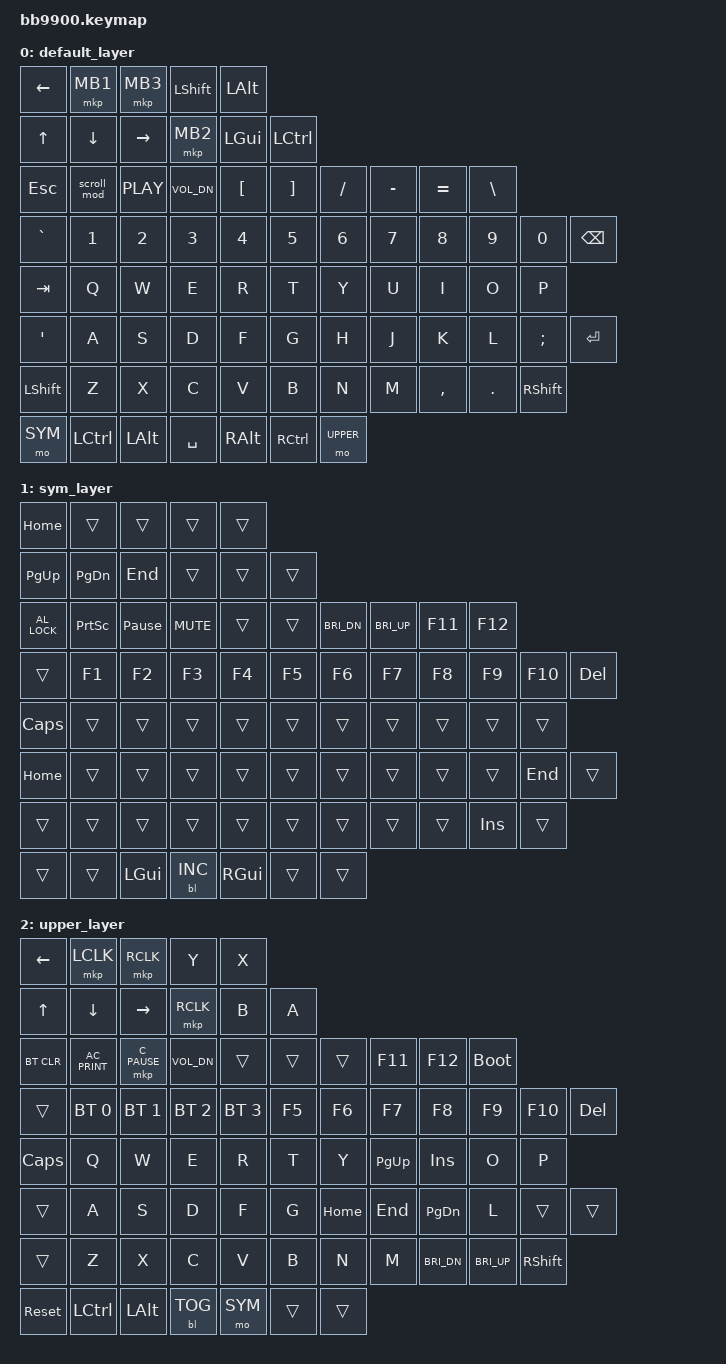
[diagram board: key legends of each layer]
/*
 * bb9900.keymap — proposed for the operator's fork of Bill-lulu/uc9900
 *
 * Targets the shipping ZitaoTech `bbkeyboard_tp` ZMK fork unchanged
 * (no main.c patch, no driver rework). All changes are confined to
 * this keymap file. Diff from stock V1.2.1:
 *
 *  1. Default top cluster — replaces F21..F24 with direct modifier
 *     keycodes so DMS reads Y/X/B/A as Shift/Mod(Super)/Alt/Ctrl.
 *     Trackpad-tap cell switched from MB1 (left click) to MB3
 *     (middle click) per operator request.
 *
 *  2. Select cell — `&scroll_mod` (new macro below). Press taps
 *     ScrollLock once (host LED indicator -> bit 2 -> firmware
 *     `app/src/main.c` line 75 condition `== 4` matches -> scroll
 *     mode engages). Release taps ScrollLock again, indicator
 *     clears, firmware returns to cursor mode. No OS-visible typing
 *     effect (ScrollLock is unused on modern Wayland desktops).
 *     Mechanism documented at:
 *       https://zmk.dev/docs/keymaps/behaviors/macros
 *     Firmware trigger lives in ZitaoTech/zmk@bbkeyboard_tp
 *       app/src/main.c lines 72-95 (per-profile scroll-mode check
 *       on `zmk_hid_indicators_get_current_profile()`).
 *
 *  3. Sym layer top special row — Fn+Esc -> C_AL_LOCK (DMS lock),
 *     Fn+Select -> PSCRN, Fn+Start -> PAUSE_BREAK. Sym-layer
 *     fixes match what was promised earlier.
 *
 *  4. Combo: LAlt + RAlt + Start (matrix indices 69, 71, 13)
 *     fires `&bootloader` to drop into UF2 bootloader for flashing.
 *     Index numbers derived from V1.2.1 default_transform binding
 *     row order (row3 cell3 = Start = idx 13; row8 cells 3 and 5 =
 *     LAlt and RAlt = idx 69 and 71). Verify post-flash; if the
 *     combo doesn't fire, the worst case is no DFU shortcut --
 *     `&bootloader` is also still on the UPPER layer (stock).
 *
 *  5. Face buttons Y/X/B/A on matrix r0 cols 7/8/9/10:
 *       (0,7) Y = LSHFT   (0,8) X = LGUI
 *       (0,9) B = LALT    (0,10) A = LCTRL
 *     Operator verified earlier: YXBA = Mod/Shift/Alt/Ctrl,
 *     specifically with X=Mod(Super=LGUI), Y=Shift.
 *
 *  6. The Gamepad layer (joystick HID) from j1n6 QMK is NOT ported.
 *     ZMK has no joystick HID class. If emulator use needs joystick
 *     axes, that's a separate userspace uinput shim.
 */

#include <behaviors.dtsi>
#include <dt-bindings/zmk/keys.h>
#include <dt-bindings/zmk/bt.h>
#include <dt-bindings/zmk/outputs.h>
#include <dt-bindings/zmk/mouse.h>
#include <dt-bindings/zmk/backlight.h>
#include <dt-bindings/zmk/ext_power.h>

#define DEFAULT 0
#define SYM     1
#define UPPER   2

/ {
    behaviors {
        td0: tap_dance_0 {
            compatible = "zmk,behavior-tap-dance";
            #binding-cells = <0>;
            tapping-term-ms = <400>;
            bindings = <&mkp LCLK>, <&bt BT_CLR>;
        };

        hm: homerow_mods {
            compatible = "zmk,behavior-hold-tap";
            #binding-cells = <2>;
            tapping-term-ms = <500>;
            bindings = <&out &kp>;
        };

        // Select-held = trackpad scroll. ScrollLock tap on press
        // toggles host indicator bit 2 -> firmware enters scroll
        // mode. Tap again on release -> indicator clears -> cursor
        // mode resumes. ScrollLock has no typing side effect on
        // modern Wayland desktops.
        scroll_mod: scroll_mod {
            compatible = "zmk,behavior-macro";
            #binding-cells = <0>;
            bindings
                = <&macro_tap &kp SLCK>
                , <&macro_pause_for_release>
                , <&macro_tap &kp SLCK>
                ;
        };
    };

    combos {
        compatible = "zmk,combos";
        // DFU/bootloader: LAlt + RAlt + Start (Start = matrix
        // row 1 cell 2 in stock keymap order, which is binding
        // index 13; LAlt/RAlt are in the thumb row at index
        // 69 and 71).
        combo_dfu {
            timeout-ms = <50>;
            key-positions = <13 69 71>;
            bindings = <&bootloader>;
        };
    };

    keymap {
        compatible = "zmk,keymap";

        default_layer {
            bindings = <
//-----------------------------------------------------------------------------------------------------------------------
// Row0 top cluster: arrows + L/R mouse btn + Trackpad-tap + Y/X/B/A face mods.
// Stock V1.2.1 binding-row order is: row 1 = RC(0,0,4,6,7,9); row 2 = RC(0,1,2,3,5,8,10).
//
//          ←(0,0)   L_mouse(0,4)   Trackpad(0,6)   Y(0,7)         B(0,9)
//          ↑(0,1)   ↓(0,2)         →(0,3)          R_mouse(0,5)   X(0,8)   A(0,10)
//
&kp LEFT      &mkp MB1      &mkp MB3      &kp LSHFT     &kp LALT
&kp UP        &kp DOWN      &kp RIGHT     &mkp MB2      &kp LGUI      &kp LCTRL

// Row1 top special row (10 cells): Esc Sel Sta Vol [ ] / - = \
&kp ESC       &scroll_mod   &kp C_PLAY    &kp C_VOL_DN  &kp LBKT      &kp RBKT      &kp FSLH      &kp MINUS     &kp EQUAL     &kp BSLH

// Row2 number row (12 cells): ` 1 2 3 4 5 6 7 8 9 0 Bsp
&kp GRAVE     &kp N1        &kp N2        &kp N3        &kp N4        &kp N5        &kp N6        &kp N7        &kp N8        &kp N9        &kp N0        &kp BSPC

// Row3 QWERTY top (11 cells): Tab Q W E R T Y U I O P
&kp TAB       &kp Q         &kp W         &kp E         &kp R         &kp T         &kp Y         &kp U         &kp I         &kp O         &kp P

// Row4 home row (12 cells): ' A S D F G H J K L ; Enter
&kp SQT       &kp A         &kp S         &kp D         &kp F         &kp G         &kp H         &kp J         &kp K         &kp L         &kp SEMI      &kp ENTER

// Row5 bottom letters (11 cells): LSft Z X C V B N M , . RSft
&kp LSHFT     &kp Z         &kp X         &kp C         &kp V         &kp B         &kp N         &kp M         &kp COMMA     &kp DOT       &kp RSHFT

// Row6 thumb row (7 cells): Fn LCtl LAlt Space RAlt RCtl Fn
&mo SYM       &kp LCTRL     &kp LALT      &kp SPACE     &kp RALT      &kp RCTRL     &mo UPPER
            >;
        };

        sym_layer {
            bindings = <
// Top cluster — D-pad becomes Home/PgUp/PgDn/End on hold-Fn (j1n6 LY1 semantics)
&kp HOME      &trans        &trans        &trans        &trans
&kp PG_UP     &kp PG_DN     &kp END       &trans        &trans        &trans

// Top special row: Fn+Esc=lock, Fn+Sel=PSCRN, Fn+Sta=Pause, Fn+Vol=mute,
//                  [ ]=trans, / -=brightness, = \ = F11 F12
&kp C_AL_LOCK &kp PSCRN     &kp PAUSE_BREAK &kp C_MUTE  &trans        &trans        &kp C_BRI_DN  &kp C_BRI_UP  &kp F11       &kp F12

// Number row -> F1..F10 + Del
&trans        &kp F1        &kp F2        &kp F3        &kp F4        &kp F5        &kp F6        &kp F7        &kp F8        &kp F9        &kp F10       &kp DEL

// Tab + QWERTY -> Caps + trans
&kp CAPS      &trans        &trans        &trans        &trans        &trans        &trans        &trans        &trans        &trans        &trans

// ' + ASDF -> Home/End markers on outer edges (matches j1n6 LY1)
&kp HOME      &trans        &trans        &trans        &trans        &trans        &trans        &trans        &trans        &trans        &kp END       &trans

// Z-row -> Insert on the position next-to-RSft (matches j1n6 LY1)
&trans        &trans        &trans        &trans        &trans        &trans        &trans        &trans        &trans        &kp INS       &trans

// Thumb row -> Fn pass-through; LAlt becomes LGUI; Space becomes BL_INC for backlight step
&trans        &trans        &kp LGUI      &bl BL_INC    &kp RGUI      &trans        &trans
            >;
        };

        upper_layer {
            // BT controls + bootloader (preserved from V1.2.1 stock).
            bindings = <
&kp LEFT      &mkp LCLK     &mkp RCLK     &kp Y         &kp X
&kp UP        &kp DOWN      &kp RIGHT     &mkp RCLK     &kp B         &kp A

&bt BT_CLR    &kp C_AC_PRINT &mkp C_PAUSE &kp K_VOL_DN  &trans        &trans        &trans        &kp F11       &kp F12       &bootloader

&trans        &bt BT_SEL 0  &bt BT_SEL 1  &bt BT_SEL 2  &bt BT_SEL 3  &kp F5        &kp F6        &kp F7        &kp F8        &kp F9        &kp F10       &kp DEL

&kp CAPS      &kp Q         &kp W         &kp E         &kp R         &kp T         &kp Y         &kp PG_UP     &kp INS       &kp O         &kp P

&trans        &kp A         &kp S         &kp D         &kp F         &kp G         &kp HOME      &kp END       &kp PG_DN     &kp L         &trans        &trans

&trans        &kp Z         &kp X         &kp C         &kp V         &kp B         &kp N         &kp M         &kp C_BRI_DN  &kp C_BRI_UP  &kp RSHFT

&sys_reset    &kp LCTRL     &kp LALT      &bl BL_TOG    &mo SYM       &trans        &trans
            >;
        };
    };
};
